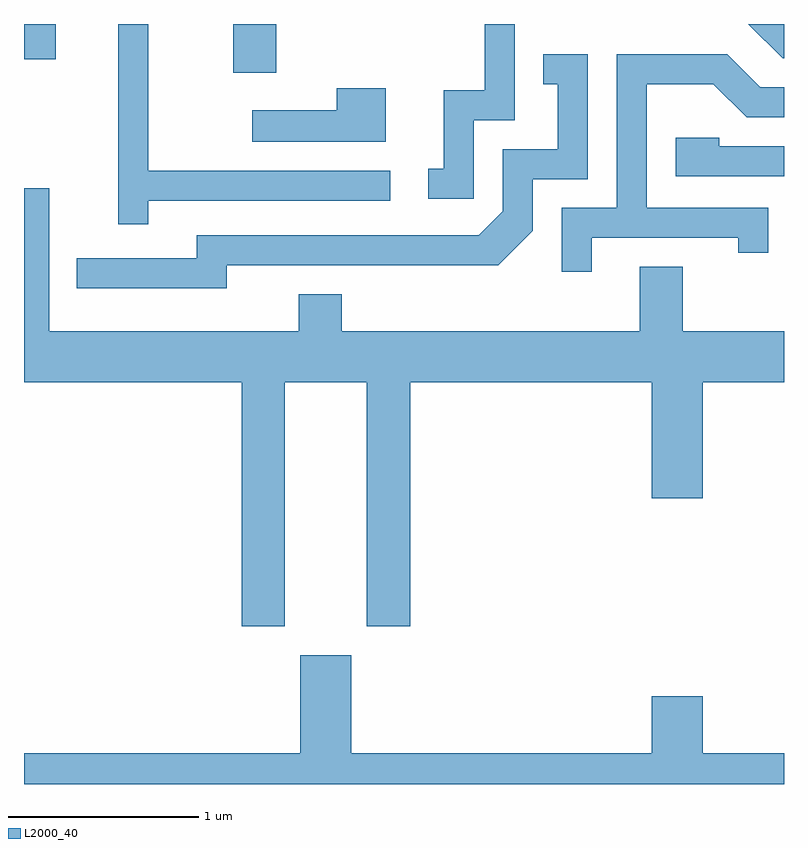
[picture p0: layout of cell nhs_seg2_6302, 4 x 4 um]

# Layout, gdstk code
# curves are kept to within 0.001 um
import gdstk
lib = gdstk.Library(unit=1e-6, precision=1e-09)
def R(c, l, rs):  # rectangles x0, y0, x1, y1
    for r in rs: c.add(gdstk.rectangle(r[:2], r[2:], *l))
def P(c, l, *ps):  # polygons
    for p in ps: c.add(gdstk.Polygon(p, *l))
L2000_40 = (2000, 40)

nhs_seg2_6302 = lib.new_cell('nhs_seg2_6302')
R(nhs_seg2_6302, L2000_40, [(372.711,1005.546,372.939,1005.802), (371.611,1005.616,371.779,1005.802)])
P(nhs_seg2_6302, L2000_40, [(372.264,1004.871),(373.538,1004.871),(373.538,1005.029),(372.264,1005.029),(372.264,1005.802),(372.106,1005.802),(372.106,1004.748),(372.264,1004.748)],
  [(375.611,1005.802),(375.423,1005.802),(375.604,1005.621),(375.611,1005.621)],
  [(373.979,1005.296),(374.194,1005.296),(374.194,1005.802),(374.036,1005.802),(374.036,1005.454),(373.821,1005.454),(373.821,1005.039),(373.738,1005.039),(373.738,1004.881),(373.979,1004.881)],
  [(372.679,1004.531),(374.107,1004.531),(374.289,1004.714),(374.289,1004.986),(374.579,1004.986),(374.579,1005.644),(374.343,1005.644),(374.343,1005.486),(374.421,1005.486),(374.421,1005.144),(374.131,1005.144),(374.131,1004.817),(374.004,1004.689),(372.521,1004.689),(372.521,1004.569),(371.888,1004.569),(371.888,1004.411),(372.679,1004.411)],
  [(374.599,1004.676),(375.371,1004.676),(375.371,1004.598),(375.529,1004.598),(375.529,1004.834),(374.889,1004.834),(374.889,1005.486),(375.239,1005.486),(375.414,1005.311),(375.611,1005.311),(375.611,1005.469),(375.487,1005.469),(375.312,1005.644),(374.731,1005.644),(374.731,1004.834),(374.441,1004.834),(374.441,1004.498),(374.599,1004.498)],
  [(373.514,1005.464),(373.256,1005.464),(373.256,1005.349),(372.813,1005.349),(372.813,1005.181),(373.514,1005.181)],
  [(375.611,1005.159),(375.269,1005.159),(375.269,1005.204),(375.041,1005.204),(375.041,1005.001),(375.611,1005.001)],
  [(372.984,1003.916),(373.416,1003.916),(373.416,1002.631),(373.644,1002.631),(373.644,1003.916),(374.916,1003.916),(374.916,1003.306),(375.184,1003.306),(375.184,1003.916),(375.611,1003.916),(375.611,1004.184),(375.079,1004.184),(375.079,1004.524),(374.851,1004.524),(374.851,1004.184),(373.284,1004.184),(373.284,1004.379),(373.056,1004.379),(373.056,1004.184),(371.744,1004.184),(371.744,1004.938),(371.611,1004.938),(371.611,1003.916),(372.756,1003.916),(372.756,1002.631),(372.984,1002.631)],
  [(375.611,1001.964),(375.184,1001.964),(375.184,1002.264),(374.916,1002.264),(374.916,1001.964),(373.334,1001.964),(373.334,1002.479),(373.066,1002.479),(373.066,1001.964),(371.611,1001.964),(371.611,1001.802),(375.611,1001.802)])

lib.write_gds('nhs_seg2_6302.gds')
